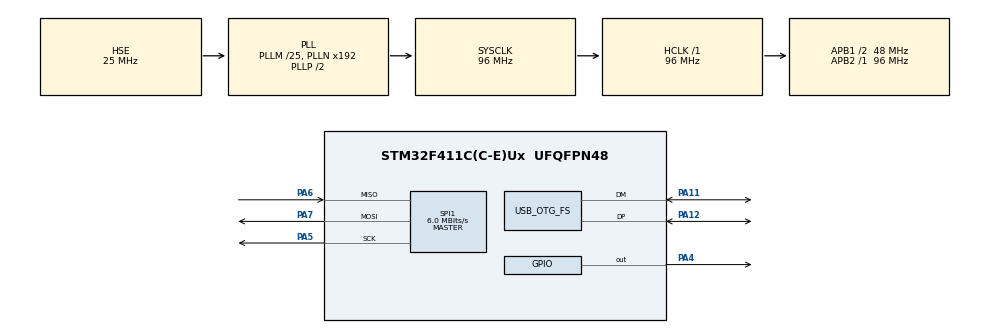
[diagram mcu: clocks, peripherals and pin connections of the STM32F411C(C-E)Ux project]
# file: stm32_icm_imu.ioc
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Mcu.Family=STM32F4
Mcu.Name=STM32F411C(C-E)Ux
Mcu.Package=UFQFPN48
NVIC.OTG_FS_IRQn=true\:0\:0\:false\:false\:true\:false\:true\:true
NVIC.PriorityGroup=NVIC_PRIORITYGROUP_4
NVIC.TIM2_IRQn=true\:0\:0\:false\:false\:true\:true\:true\:true
PA11.Mode=Device_Only
PA11.Signal=USB_OTG_FS_DM
PA12.Mode=Device_Only
PA12.Signal=USB_OTG_FS_DP
PA4.Signal=GPIO_Output
PA5.Mode=Full_Duplex_Master
PA5.Signal=SPI1_SCK
PA6.Mode=Full_Duplex_Master
PA6.Signal=SPI1_MISO
PA7.Mode=Full_Duplex_Master
PA7.Signal=SPI1_MOSI
PH0\ -\ OSC_IN.Mode=HSE-External-Oscillator
PH0\ -\ OSC_IN.Signal=RCC_OSC_IN
PH1\ -\ OSC_OUT.Mode=HSE-External-Oscillator
PH1\ -\ OSC_OUT.Signal=RCC_OSC_OUT
ProjectManager.HeapSize=0x200
ProjectManager.StackSize=0x400
ProjectManager.TargetToolchain=STM32CubeIDE
RCC.48MHZClocksFreq_Value=48000000
RCC.AHBFreq_Value=96000000
RCC.APB1CLKDivider=RCC_HCLK_DIV2
RCC.APB1Freq_Value=48000000
RCC.APB1TimFreq_Value=96000000
RCC.APB2Freq_Value=96000000
RCC.APB2TimFreq_Value=96000000
RCC.CortexFreq_Value=96000000
RCC.HCLKFreq_Value=96000000
RCC.HSE_VALUE=25000000
RCC.HSI_VALUE=16000000
RCC.LSE_VALUE=32768
RCC.PLLM=25
RCC.SYSCLKFreq_VALUE=96000000
RCC.SYSCLKSource=RCC_SYSCLKSOURCE_PLLCLK
RCC.VCOOutputFreq_Value=192000000
SPI1.BaudRatePrescaler=SPI_BAUDRATEPRESCALER_16
SPI1.CalculateBaudRate=6.0 MBits/s
SPI1.Direction=SPI_DIRECTION_2LINES
SPI1.Mode=SPI_MODE_MASTER
SPI1.VirtualType=VM_MASTER
TIM2.Period=49
TIM2.Prescaler=9599
USB_DEVICE.CLASS_NAME_FS=CDC
USB_DEVICE.VirtualMode=Cdc
USB_DEVICE.VirtualModeFS=Cdc_FS
USB_OTG_FS.VirtualMode=Device_Only
VP_TIM2_VS_ClockSourceINT.Mode=Internal
VP_USB_DEVICE_VS_USB_DEVICE_CDC_FS.Mode=CDC_FS
board=custom

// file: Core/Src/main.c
/* USER CODE BEGIN Header */
/**
  ******************************************************************************
  * @file           : main.c
  * @brief          : Main program body
  ******************************************************************************
  * @attention
  *
  * Copyright (c) 2026 STMicroelectronics.
  * All rights reserved.
  *
  * This software is licensed under terms that can be found in the LICENSE file
  * in the root directory of this software component.
  * If no LICENSE file comes with this software, it is provided AS-IS.
  *
  ******************************************************************************
  */
/* USER CODE END Header */
#include "main.h"
#include "spi.h"
#include "tim.h"
#include "usb_device.h"
#include "gpio.h"

/* USER CODE BEGIN Includes */
#include "usbd_cdc_if.h"
#include <stdint.h>
#include <stdio.h>
#include <string.h>

/* USER CODE END Includes */

/* USER CODE BEGIN PTD */
#pragma pack(push, 1)
typedef struct {
    uint16_t header;       /* 0xAA55 */
    uint32_t timestamp_us;
    int16_t gx;
    int16_t gy;
    int16_t gz;
    int16_t ax;
    int16_t ay;
    int16_t az;
    /* temp removed: not needed for VIO/SLAM */
} imu_packet_t; /* total: 18 bytes */
#pragma pack(pop)

/* USER CODE END PTD */

/* USER CODE BEGIN PD */
#define BMI160_REG_CHIP_ID      0x00U
#define BMI160_REG_GYR_DATA     0x0CU
#define BMI160_REG_ACC_DATA     0x12U
/* BMI160_REG_TEMP_DATA removed: not used */
#define BMI160_REG_ACC_CONF     0x40U
#define BMI160_REG_ACC_RANGE    0x41U
#define BMI160_REG_GYR_CONF     0x42U
#define BMI160_REG_GYR_RANGE    0x43U
#define BMI160_REG_CMD          0x7EU

#define BMI160_CHIP_ID          0xD1U
#define BMI160_CMD_SOFT_RESET   0xB6U
#define BMI160_CMD_ACC_NORMAL   0x11U
#define BMI160_CMD_GYR_NORMAL   0x15U

#define BMI160_CS_PORT          GPIOA
#define BMI160_CS_PIN           GPIO_PIN_4

#define BMI160_ACC_LSB_PER_G    8192
#define BMI160_GYR_LSB_PER_DPS_X10 164

/* USER CODE END PD */

/* USER CODE BEGIN PV */
static volatile uint8_t imu_sample_flag = 0;
static uint8_t bmi160_ready = 0;
static volatile uint32_t imu_timestamp_us = 0;
/* USER CODE END PV */

void SystemClock_Config(void);
/* USER CODE BEGIN PFP */
static void bmi160_cs_low(void);
static void bmi160_cs_high(void);
static HAL_StatusTypeDef bmi160_read(uint8_t reg, uint8_t *data, uint16_t len);
static HAL_StatusTypeDef bmi160_write(uint8_t reg, uint8_t value);
static uint8_t bmi160_init(void);
static void imu_publish_sample(void);

/* USER CODE END PFP */

/* USER CODE BEGIN 0 */
static void bmi160_cs_low(void)
{
  HAL_GPIO_WritePin(BMI160_CS_PORT, BMI160_CS_PIN, GPIO_PIN_RESET);
}

static void bmi160_cs_high(void)
{
  HAL_GPIO_WritePin(BMI160_CS_PORT, BMI160_CS_PIN, GPIO_PIN_SET);
}

static HAL_StatusTypeDef bmi160_read(uint8_t reg, uint8_t *data, uint16_t len)
{
  HAL_StatusTypeDef status;
  uint8_t addr = reg | 0x80U;

  bmi160_cs_low();
  status = HAL_SPI_Transmit(&hspi1, &addr, 1, 10);
  if (status == HAL_OK)
  {
    status = HAL_SPI_Receive(&hspi1, data, len, 10);
  }
  bmi160_cs_high();

  return status;
}

static HAL_StatusTypeDef bmi160_write(uint8_t reg, uint8_t value)
{
  HAL_StatusTypeDef status;
  uint8_t tx[2] = {reg & 0x7FU, value};

  bmi160_cs_low();
  status = HAL_SPI_Transmit(&hspi1, tx, sizeof(tx), 10);
  bmi160_cs_high();

  return status;
}

static uint8_t bmi160_init(void)
{
  uint8_t chip_id = 0;

  bmi160_cs_high();
  HAL_Delay(100);

  /* First SPI transaction wakes/selects SPI mode on BMI160 boards. */
  (void)bmi160_read(BMI160_REG_CHIP_ID, &chip_id, 1);
  HAL_Delay(2);

  if (bmi160_read(BMI160_REG_CHIP_ID, &chip_id, 1) != HAL_OK || chip_id != BMI160_CHIP_ID)
  {
    return 0;
  }

  (void)bmi160_write(BMI160_REG_CMD, BMI160_CMD_SOFT_RESET);
  HAL_Delay(100);
  (void)bmi160_read(BMI160_REG_CHIP_ID, &chip_id, 1);

  (void)bmi160_write(BMI160_REG_ACC_CONF, 0x2CU);  /* ODR 1600 Hz, bwp normal. */
  HAL_Delay(5);
  (void)bmi160_write(BMI160_REG_ACC_RANGE, 0x05U); /* +/- 4 g. */
  HAL_Delay(5);
  (void)bmi160_write(BMI160_REG_GYR_CONF, 0x2CU);  /* ODR 1600 Hz, bwp normal. */
  HAL_Delay(5);
  (void)bmi160_write(BMI160_REG_GYR_RANGE, 0x00U); /* +/- 2000 dps. */
  HAL_Delay(5);

  (void)bmi160_write(BMI160_REG_CMD, BMI160_CMD_ACC_NORMAL);
  HAL_Delay(50);
  (void)bmi160_write(BMI160_REG_CMD, BMI160_CMD_GYR_NORMAL);
  HAL_Delay(80);

  return 1;
}

/* cdc_write_line removed — not used for binary protocol */

static void imu_publish_sample(void)
{
  /* Single burst read: GYR_DATA(0x0C) + ACC_DATA(0x12) = 12 bytes contiguous */
  uint8_t raw[12];
  static imu_packet_t pkt;

  if (!bmi160_ready)
  {
    return;
  }

  /* Let USB stack decide if TX is ready — do NOT gate on user-level busy flag.
   * CDC_Transmit_FS already checks hcdc->TxState internally and returns USBD_BUSY
   * if the previous transfer is still in progress. Returning USBD_BUSY here is OK:
   * we simply skip this sample (1600 Hz, missing 1 sample is negligible). */
  if (bmi160_read(BMI160_REG_GYR_DATA, raw, sizeof(raw)) != HAL_OK)
  {
    return;
  }

  pkt.header = 0xAA55U;

  __disable_irq();
  pkt.timestamp_us = imu_timestamp_us;
  __enable_irq();

  pkt.gx = (int16_t)((uint16_t)raw[1]  << 8 | raw[0]);
  pkt.gy = (int16_t)((uint16_t)raw[3]  << 8 | raw[2]);
  pkt.gz = (int16_t)((uint16_t)raw[5]  << 8 | raw[4]);
  pkt.ax = (int16_t)((uint16_t)raw[7]  << 8 | raw[6]);
  pkt.ay = (int16_t)((uint16_t)raw[9]  << 8 | raw[8]);
  pkt.az = (int16_t)((uint16_t)raw[11] << 8 | raw[10]);

  /* USBD_BUSY = previous packet still transmitting → skip this sample, try next tick */
  (void)CDC_Transmit_FS((uint8_t *)&pkt, (uint16_t)sizeof(pkt));
}

/* USER CODE END 0 */

int main(void)
{

  /* MCU Configuration--------------------------------------------------------*/

  /* Reset of all peripherals, Initializes the Flash interface and the Systick. */
  HAL_Init();

  /* Configure the system clock */
  SystemClock_Config();

  /* Initialize all configured peripherals */
  MX_GPIO_Init();
  MX_SPI1_Init();
  MX_TIM2_Init();
  MX_USB_DEVICE_Init();
  /* USER CODE BEGIN 2 */
  HAL_Delay(1000);
  bmi160_ready = bmi160_init();
  if (HAL_TIM_Base_Start_IT(&htim2) != HAL_OK)
  {
    Error_Handler();
  }

  /* USER CODE END 2 */

  /* Infinite loop */
  while (1)
  {

    /* USER CODE BEGIN 3 */
    if (imu_sample_flag)
    {
      imu_sample_flag = 0;
      imu_publish_sample();
    }
  }
  /* USER CODE END 3 */
}

void SystemClock_Config(void)
{
  RCC_OscInitTypeDef RCC_OscInitStruct = {0};
  RCC_ClkInitTypeDef RCC_ClkInitStruct = {0};

  /** Configure the main internal regulator output voltage
  */
  __HAL_RCC_PWR_CLK_ENABLE();
  __HAL_PWR_VOLTAGESCALING_CONFIG(PWR_REGULATOR_VOLTAGE_SCALE1);

  /** Initializes the RCC Oscillators according to the specified parameters
  * in the RCC_OscInitTypeDef structure.
  */
  RCC_OscInitStruct.OscillatorType = RCC_OSCILLATORTYPE_HSE;
  RCC_OscInitStruct.HSEState = RCC_HSE_ON;
  RCC_OscInitStruct.PLL.PLLState = RCC_PLL_ON;
  RCC_OscInitStruct.PLL.PLLSource = RCC_PLLSOURCE_HSE;
  RCC_OscInitStruct.PLL.PLLM = 25;
  RCC_OscInitStruct.PLL.PLLN = 192;
  RCC_OscInitStruct.PLL.PLLP = RCC_PLLP_DIV2;
  RCC_OscInitStruct.PLL.PLLQ = 4;
  if (HAL_RCC_OscConfig(&RCC_OscInitStruct) != HAL_OK)
  {
    Error_Handler();
  }

  /** Initializes the CPU, AHB and APB buses clocks
  */
  RCC_ClkInitStruct.ClockType = RCC_CLOCKTYPE_HCLK|RCC_CLOCKTYPE_SYSCLK
                              |RCC_CLOCKTYPE_PCLK1|RCC_CLOCKTYPE_PCLK2;
  RCC_ClkInitStruct.SYSCLKSource = RCC_SYSCLKSOURCE_PLLCLK;
  RCC_ClkInitStruct.AHBCLKDivider = RCC_SYSCLK_DIV1;
  RCC_ClkInitStruct.APB1CLKDivider = RCC_HCLK_DIV2;
  RCC_ClkInitStruct.APB2CLKDivider = RCC_HCLK_DIV1;

  if (HAL_RCC_ClockConfig(&RCC_ClkInitStruct, FLASH_LATENCY_3) != HAL_OK)
  {
    Error_Handler();
  }
}

/* USER CODE BEGIN 4 */
void HAL_TIM_PeriodElapsedCallback(TIM_HandleTypeDef *htim)
{
  if (htim->Instance == TIM2)
  {
    imu_sample_flag = 1;
    imu_timestamp_us += 625;
  }
}

/* USER CODE END 4 */

void Error_Handler(void)
{
  __disable_irq();
  while (1)
  {
  }
}
